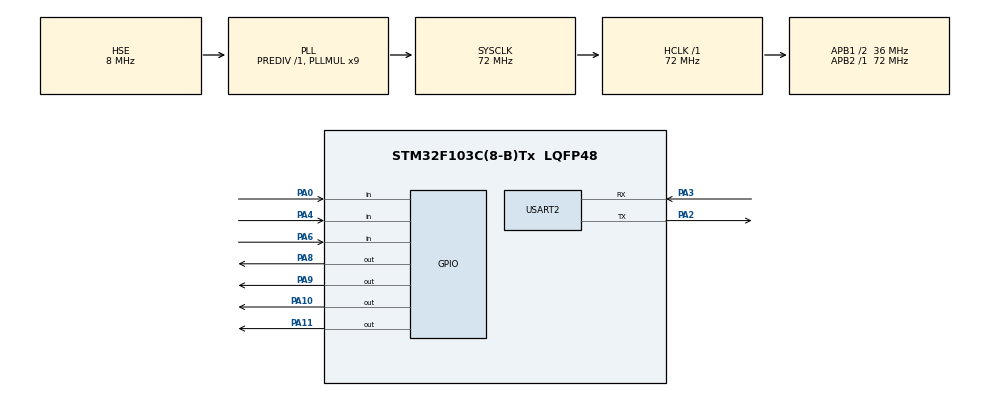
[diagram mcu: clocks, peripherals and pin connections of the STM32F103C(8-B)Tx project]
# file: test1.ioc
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Dma.Request0=USART2_RX
Dma.Request1=USART2_TX
Dma.USART2_RX.0.Direction=DMA_PERIPH_TO_MEMORY
Dma.USART2_RX.0.Instance=DMA1_Channel6
Dma.USART2_RX.0.MemDataAlignment=DMA_MDATAALIGN_BYTE
Dma.USART2_RX.0.MemInc=DMA_MINC_ENABLE
Dma.USART2_RX.0.Mode=DMA_NORMAL
Dma.USART2_RX.0.PeriphDataAlignment=DMA_PDATAALIGN_BYTE
Dma.USART2_RX.0.PeriphInc=DMA_PINC_DISABLE
Dma.USART2_RX.0.Priority=DMA_PRIORITY_LOW
Dma.USART2_TX.1.Direction=DMA_MEMORY_TO_PERIPH
Dma.USART2_TX.1.Instance=DMA1_Channel7
Dma.USART2_TX.1.MemDataAlignment=DMA_MDATAALIGN_BYTE
Dma.USART2_TX.1.MemInc=DMA_MINC_ENABLE
Dma.USART2_TX.1.Mode=DMA_NORMAL
Dma.USART2_TX.1.PeriphDataAlignment=DMA_PDATAALIGN_BYTE
Dma.USART2_TX.1.PeriphInc=DMA_PINC_DISABLE
Dma.USART2_TX.1.Priority=DMA_PRIORITY_LOW
FREERTOS.Tasks01=defaultTask,24,128,StartDefaultTask,Default,NULL,Dynamic,NULL,NULL
Mcu.Family=STM32F1
Mcu.Name=STM32F103C(8-B)Tx
Mcu.Package=LQFP48
NVIC.DMA1_Channel6_IRQn=true\:5\:0\:false\:false\:true\:true\:false\:true\:true
NVIC.DMA1_Channel7_IRQn=true\:5\:0\:false\:false\:true\:true\:false\:true\:true
NVIC.PriorityGroup=NVIC_PRIORITYGROUP_4
NVIC.TIM4_IRQn=true\:15\:0\:false\:false\:true\:false\:false\:true\:true
NVIC.TimeBase=TIM4_IRQn
NVIC.TimeBaseIP=TIM4
NVIC.USART2_IRQn=true\:5\:0\:false\:false\:true\:true\:false\:true\:true
PA0-WKUP.GPIO_PuPd=GPIO_PULLUP
PA0-WKUP.Signal=GPIO_Input
PA10.GPIO_ModeDefaultOutputPP=GPIO_MODE_OUTPUT_PP
PA10.GPIO_PuPd=GPIO_PULLDOWN
PA10.PinState=GPIO_PIN_RESET
PA10.Signal=GPIO_Output
PA11.GPIO_ModeDefaultOutputPP=GPIO_MODE_OUTPUT_PP
PA11.GPIO_PuPd=GPIO_PULLDOWN
PA11.PinState=GPIO_PIN_RESET
PA11.Signal=GPIO_Output
PA13.Mode=Serial_Wire
PA13.Signal=SYS_JTMS-SWDIO
PA14.Mode=Serial_Wire
PA14.Signal=SYS_JTCK-SWCLK
PA2.Mode=Asynchronous
PA2.Signal=USART2_TX
PA3.Mode=Asynchronous
PA3.Signal=USART2_RX
PA4.GPIO_PuPd=GPIO_PULLUP
PA4.Signal=GPIO_Input
PA6.GPIO_PuPd=GPIO_PULLUP
PA6.Signal=GPIO_Input
PA8.GPIO_ModeDefaultOutputPP=GPIO_MODE_OUTPUT_PP
PA8.GPIO_PuPd=GPIO_PULLDOWN
PA8.PinState=GPIO_PIN_RESET
PA8.Signal=GPIO_Output
PA9.GPIO_ModeDefaultOutputPP=GPIO_MODE_OUTPUT_PP
PA9.GPIO_PuPd=GPIO_PULLDOWN
PA9.PinState=GPIO_PIN_RESET
PA9.Signal=GPIO_Output
PD0-OSC_IN.Mode=HSE-External-Oscillator
PD0-OSC_IN.Signal=RCC_OSC_IN
PD1-OSC_OUT.Mode=HSE-External-Oscillator
PD1-OSC_OUT.Signal=RCC_OSC_OUT
ProjectManager.HeapSize=0x200
ProjectManager.StackSize=0x400
ProjectManager.TargetToolchain=MDK-ARM V5.32
RCC.AHBFreq_Value=72000000
RCC.APB1CLKDivider=RCC_HCLK_DIV2
RCC.APB1Freq_Value=36000000
RCC.APB1TimFreq_Value=72000000
RCC.APB2Freq_Value=72000000
RCC.APB2TimFreq_Value=72000000
RCC.HCLKFreq_Value=72000000
RCC.PLLMUL=RCC_PLL_MUL9
RCC.PLLSourceVirtual=RCC_PLLSOURCE_HSE
RCC.SYSCLKFreq_VALUE=72000000
RCC.SYSCLKSource=RCC_SYSCLKSOURCE_PLLCLK
RCC.USBFreq_Value=72000000
TIM2.Period=1000-1
TIM2.Prescaler=72-1
USART2.VirtualMode=VM_ASYNC
VP_FREERTOS_VS_CMSIS_V2.Mode=CMSIS_V2
VP_SYS_VS_tim4.Mode=TIM4
VP_TIM2_VS_ClockSourceINT.Mode=Internal
board=custom

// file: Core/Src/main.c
/* USER CODE BEGIN Header */
/**
  ******************************************************************************
  * @file           : main.c
  * @brief          : Main program body
  ******************************************************************************
  * @attention
  *
  * Copyright (c) 2025 STMicroelectronics.
  * All rights reserved.
  *
  * This software is licensed under terms that can be found in the LICENSE file
  * in the root directory of this software component.
  * If no LICENSE file comes with this software, it is provided AS-IS.
  *
  ******************************************************************************
  */
/* USER CODE END Header */
#include "main.h"
#include "cmsis_os.h"
#include "dma.h"
#include "tim.h"
#include "usart.h"
#include "gpio.h"

void SystemClock_Config(void);
void MX_FREERTOS_Init(void);

int main(void)
{

  /* MCU Configuration--------------------------------------------------------*/

  /* Reset of all peripherals, Initializes the Flash interface and the Systick. */
  HAL_Init();

  /* Configure the system clock */
  SystemClock_Config();

  /* Initialize all configured peripherals */
  MX_GPIO_Init();
  MX_DMA_Init();
  MX_USART2_UART_Init();
  MX_TIM2_Init();

  /* Init scheduler */
  osKernelInitialize();  /* Call init function for freertos objects (in cmsis_os2.c) */
  MX_FREERTOS_Init();

  /* Start scheduler */
  osKernelStart();

  /* We should never get here as control is now taken by the scheduler */

  /* Infinite loop */
  while (1)
  {

  }
}

void SystemClock_Config(void)
{
  RCC_OscInitTypeDef RCC_OscInitStruct = {0};
  RCC_ClkInitTypeDef RCC_ClkInitStruct = {0};

  /** Initializes the RCC Oscillators according to the specified parameters
  * in the RCC_OscInitTypeDef structure.
  */
  RCC_OscInitStruct.OscillatorType = RCC_OSCILLATORTYPE_HSE;
  RCC_OscInitStruct.HSEState = RCC_HSE_ON;
  RCC_OscInitStruct.HSEPredivValue = RCC_HSE_PREDIV_DIV1;
  RCC_OscInitStruct.HSIState = RCC_HSI_ON;
  RCC_OscInitStruct.PLL.PLLState = RCC_PLL_ON;
  RCC_OscInitStruct.PLL.PLLSource = RCC_PLLSOURCE_HSE;
  RCC_OscInitStruct.PLL.PLLMUL = RCC_PLL_MUL9;
  if (HAL_RCC_OscConfig(&RCC_OscInitStruct) != HAL_OK)
  {
    Error_Handler();
  }

  /** Initializes the CPU, AHB and APB buses clocks
  */
  RCC_ClkInitStruct.ClockType = RCC_CLOCKTYPE_HCLK|RCC_CLOCKTYPE_SYSCLK
                              |RCC_CLOCKTYPE_PCLK1|RCC_CLOCKTYPE_PCLK2;
  RCC_ClkInitStruct.SYSCLKSource = RCC_SYSCLKSOURCE_PLLCLK;
  RCC_ClkInitStruct.AHBCLKDivider = RCC_SYSCLK_DIV1;
  RCC_ClkInitStruct.APB1CLKDivider = RCC_HCLK_DIV2;
  RCC_ClkInitStruct.APB2CLKDivider = RCC_HCLK_DIV1;

  if (HAL_RCC_ClockConfig(&RCC_ClkInitStruct, FLASH_LATENCY_2) != HAL_OK)
  {
    Error_Handler();
  }
}

void HAL_TIM_PeriodElapsedCallback(TIM_HandleTypeDef *htim)
{
  if (htim->Instance == TIM4)
  {
    HAL_IncTick();
  }
}

void Error_Handler(void)
{
  __disable_irq();
  while (1)
  {
  }
}

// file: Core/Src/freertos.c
/* USER CODE BEGIN Header */
/**
  ******************************************************************************
  * File Name          : freertos.c
  * Description        : Code for freertos applications
  ******************************************************************************
  * @attention
  *
  * Copyright (c) 2025 STMicroelectronics.
  * All rights reserved.
  *
  * This software is licensed under terms that can be found in the LICENSE file
  * in the root directory of this software component.
  * If no LICENSE file comes with this software, it is provided AS-IS.
  *
  ******************************************************************************
  */
/* USER CODE END Header */

#include "FreeRTOS.h"
#include "task.h"
#include "main.h"
#include "cmsis_os.h"

/* USER CODE BEGIN Includes */
#include "usart.h"
#include <string.h>
/* USER CODE END Includes */

/* USER CODE BEGIN PTD */
typedef enum{
	NONE,
	MODE1,
	MODE2,
	MODE3,
}MODE;
typedef enum{
	NO,
	UP,
	DOWN,
	STOP,
	SUSPEND,
}LEDstate;
/* USER CODE END PTD */

/* USER CODE BEGIN Variables */
MODE mode = NONE;
LEDstate ledState = STOP;
int TxState = 1;
int RxState = 1;
int suspend = 0;
LEDstate susState;
char TxData[] = "INIT_OK\n";
char DOWNData[] = "DOWN_ACTIVE";
char STOPData[] = "STOP_ACTIVE";
char FLOWData[] = "FLOW_ACTIVE";
char UPData[] = "UP_ACTIVE";
/* USER CODE END Variables */
/* Definitions for defaultTask */
osThreadId_t defaultTaskHandle;
const osThreadAttr_t defaultTask_attributes = {
  .name = "defaultTask",
  .stack_size = 128 * 4,
  .priority = (osPriority_t) osPriorityNormal,
};

/* USER CODE BEGIN FunctionPrototypes */
void copeMode1(void);
void stateTask(void *parames);
void buttonTask(void *parames);
void ledLight(void);
void RxTask(void *parames);
/* USER CODE END FunctionPrototypes */

void StartDefaultTask(void *argument);

void MX_FREERTOS_Init(void); /* (MISRA C 2004 rule 8.1) */

void MX_FREERTOS_Init(void) {

  /* Create the thread(s) */
  /* creation of defaultTask */
  defaultTaskHandle = osThreadNew(StartDefaultTask, NULL, &defaultTask_attributes);

  /* USER CODE BEGIN RTOS_THREADS */
  /* add threads, ... */
	xTaskCreate(stateTask,"stateTask",128,NULL,osPriorityNormal,NULL);
	xTaskCreate(buttonTask,"buttonTask",128,NULL,osPriorityNormal+1,NULL);
	xTaskCreate(RxTask,"RxTask",128,NULL,osPriorityNormal,NULL);
  /* USER CODE END RTOS_THREADS */

}

void StartDefaultTask(void *argument)
{
  for(;;)
  {
    osDelay(1);
  }
}

/* USER CODE BEGIN Application */
void stateTask(void *parames){
	MODE tempMode = NONE;
	for(;;){
		taskENTER_CRITICAL();
		if(mode == tempMode){
			taskEXIT_CRITICAL();
			vTaskDelay(50);
			continue;
		}else{
			tempMode = mode;
			taskEXIT_CRITICAL();
		}
		switch(tempMode){
			case MODE1:
				copeMode1();
				break;
			case MODE2:
				ledLight();
				break;
			case MODE3:
				break;
			case NONE:
				break;
		}
		vTaskDelay(50);
	}
}
void ledLight(){
	LEDstate state;
	while(1){
		state = ledState;
		switch(state){
			case UP:
				HAL_GPIO_WritePin(GPIOA,GPIO_PIN_8 | GPIO_PIN_9 | GPIO_PIN_10 | GPIO_PIN_11,GPIO_PIN_RESET);
				HAL_GPIO_WritePin(GPIOA,GPIO_PIN_8,GPIO_PIN_SET);
				vTaskDelay(125);
				HAL_GPIO_WritePin(GPIOA,GPIO_PIN_9,GPIO_PIN_SET);
				vTaskDelay(125);
				HAL_GPIO_WritePin(GPIOA,GPIO_PIN_10,GPIO_PIN_SET);
				vTaskDelay(125);
				HAL_GPIO_WritePin(GPIOA,GPIO_PIN_11,GPIO_PIN_SET);
				vTaskDelay(125);
				break;
			case DOWN:
				HAL_GPIO_WritePin(GPIOA,GPIO_PIN_8 | GPIO_PIN_9 | GPIO_PIN_10 | GPIO_PIN_11,GPIO_PIN_RESET);
				HAL_GPIO_WritePin(GPIOA,GPIO_PIN_11,GPIO_PIN_SET);
				vTaskDelay(125);
				HAL_GPIO_WritePin(GPIOA,GPIO_PIN_10,GPIO_PIN_SET);
				vTaskDelay(125);
				HAL_GPIO_WritePin(GPIOA,GPIO_PIN_9,GPIO_PIN_SET);
				vTaskDelay(125);
				HAL_GPIO_WritePin(GPIOA,GPIO_PIN_8,GPIO_PIN_SET);
				vTaskDelay(125);
				break;
			case STOP:
				HAL_GPIO_WritePin(GPIOA,GPIO_PIN_8 | GPIO_PIN_9 | GPIO_PIN_10 | GPIO_PIN_11,GPIO_PIN_RESET);
				break;
			case SUSPEND:
				state = NO;
				break;
			case NO:
				break;
		}
		vTaskDelay(50);
	}
}
void buttonTask(void *parames){
	uint32_t curTime = 0;
	uint32_t lastTime = 0;
	MODE tempmode;
	for(;;){
		tempmode = mode;
		if(tempmode == NONE){
			if(HAL_GPIO_ReadPin(GPIOA,GPIO_PIN_0) == GPIO_PIN_RESET) mode = MODE1;
			else if(HAL_GPIO_ReadPin(GPIOA,GPIO_PIN_4) == GPIO_PIN_RESET) mode = MODE2;
			else if(HAL_GPIO_ReadPin(GPIOA,GPIO_PIN_6) == GPIO_PIN_RESET) mode = MODE3;
		}else{
			if(tempmode == MODE2){
				if(HAL_GPIO_ReadPin(GPIOA,GPIO_PIN_0) == GPIO_PIN_RESET){
					vTaskDelay(20);
					if(HAL_GPIO_ReadPin(GPIOA,GPIO_PIN_0) == GPIO_PIN_RESET){
						while(HAL_GPIO_ReadPin(GPIOA,GPIO_PIN_0) == GPIO_PIN_RESET);
						if(suspend == 0){
							suspend = 1;
							susState = ledState;
							ledState = SUSPEND;
						}else if(suspend == 1){
							suspend = 0;
							ledState = susState;
						}
					}
				}else if(HAL_GPIO_ReadPin(GPIOA,GPIO_PIN_4) == GPIO_PIN_RESET){
					vTaskDelay(20);
					if(HAL_GPIO_ReadPin(GPIOA,GPIO_PIN_4) == GPIO_PIN_RESET){
						while(HAL_GPIO_ReadPin(GPIOA,GPIO_PIN_4) == GPIO_PIN_RESET);
										ledState = (ledState == UP) ? DOWN : UP;
						if(ledState == UP){
							if(TxState == 1){
								TxState = 0;
								HAL_UART_Transmit_DMA(&huart2,(uint8_t*)UPData,strlen(UPData));
							}
						}else if(ledState == DOWN){
							if(TxState == 1){
								TxState = 0;
								HAL_UART_Transmit_DMA(&huart2,(uint8_t*)DOWNData,strlen(DOWNData));
							}
						}
					}

				}
			}
		}
		vTaskDelay(50);
	}
}
void copeMode1(void){
	HAL_GPIO_WritePin(GPIOA,GPIO_PIN_8,GPIO_PIN_SET);
	vTaskDelay(200);
	HAL_GPIO_WritePin(GPIOA,GPIO_PIN_9,GPIO_PIN_SET);
	vTaskDelay(200);
	HAL_GPIO_WritePin(GPIOA,GPIO_PIN_10,GPIO_PIN_SET);
	vTaskDelay(200);
	HAL_GPIO_WritePin(GPIOA,GPIO_PIN_11,GPIO_PIN_SET);
	vTaskDelay(200);

	HAL_GPIO_WritePin(GPIOA,GPIO_PIN_8,GPIO_PIN_RESET);
	vTaskDelay(200);
	HAL_GPIO_WritePin(GPIOA,GPIO_PIN_9,GPIO_PIN_RESET);
	vTaskDelay(200);
	HAL_GPIO_WritePin(GPIOA,GPIO_PIN_10,GPIO_PIN_RESET);
	vTaskDelay(200);
	HAL_GPIO_WritePin(GPIOA,GPIO_PIN_11,GPIO_PIN_RESET);
	vTaskDelay(200);

	for(int i = 0;i < 3;i++){
		HAL_GPIO_WritePin(GPIOA,GPIO_PIN_8 | GPIO_PIN_9 | GPIO_PIN_10 | GPIO_PIN_11,GPIO_PIN_SET);
		vTaskDelay(500);
		HAL_GPIO_WritePin(GPIOA,GPIO_PIN_8 | GPIO_PIN_9 | GPIO_PIN_10 | GPIO_PIN_11,GPIO_PIN_RESET);
		vTaskDelay(500);
	}
	HAL_GPIO_WritePin(GPIOA,GPIO_PIN_8 | GPIO_PIN_9 | GPIO_PIN_10 | GPIO_PIN_11,GPIO_PIN_SET);
	if(TxState == 1){
		TxState = 0;
		HAL_UART_Transmit_DMA(&huart2,(uint8_t*)TxData,strlen(TxData));
	}else{
		while(TxState == 0) taskYIELD();
		HAL_UART_Transmit_DMA(&huart2,(uint8_t*)TxData,strlen(TxData));
	}
}
void RxTask(void *parames){
	uint8_t Rx_buf[4];
	for(;;){
		if(RxState == 1){
			if(HAL_UART_Receive_DMA(&huart2,Rx_buf,sizeof(Rx_buf)) == HAL_OK){
				if(mode == MODE2){
					if(Rx_buf[1] == 'D'){
						ledState = DOWN;
						if(TxState == 1){
							TxState = 0;
							HAL_UART_Transmit_DMA(&huart2,(uint8_t*)DOWNData,strlen(DOWNData));
						}
					}
					else if(Rx_buf[1] == 'S'){
						ledState = STOP;
						if(TxState == 1){
							TxState = 0;
							HAL_UART_Transmit_DMA(&huart2,(uint8_t*)STOPData,strlen(STOPData));
						}
					}
					else if(Rx_buf[1] == 'U'){
						ledState = UP;
					}
				}else{
					if(Rx_buf[1] == 'F'){
						mode = MODE2;
						ledState = UP;
						if(TxState == 1){
							TxState = 0;
							HAL_UART_Transmit_DMA(&huart2,(uint8_t*)FLOWData,strlen(FLOWData));
						}
					}
					if(Rx_buf[1] =='C'){
						mode = MODE3;
					}
				}
			}
		}
		vTaskDelay(50);
	}
}
void HAL_UART_TxCpltCallback(UART_HandleTypeDef *huart){
	if(huart == &huart2){
		TxState = 1;
	}
}
void HAL_UART_RxCpltCallback(UART_HandleTypeDef *huart){
	if(huart == &huart2){
		RxState = 1;
	}
}
/* USER CODE END Application */
